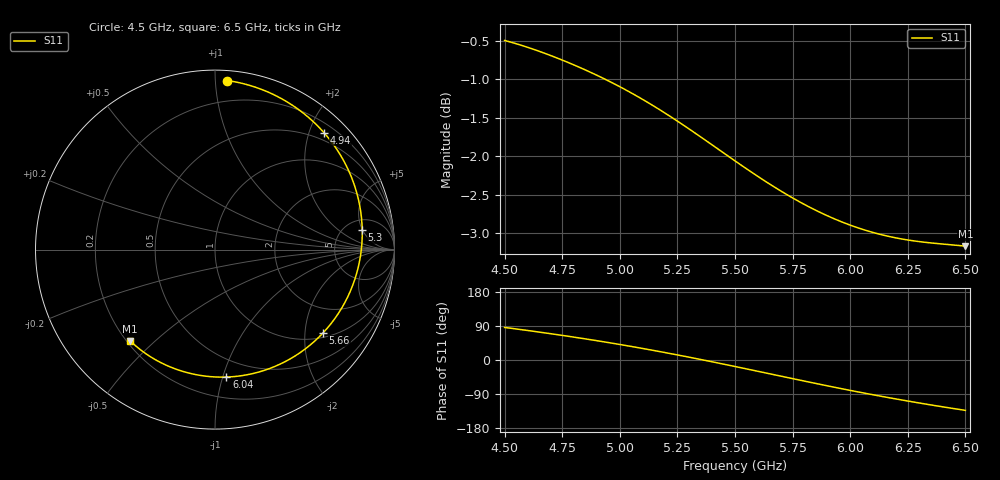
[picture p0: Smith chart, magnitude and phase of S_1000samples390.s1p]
! TOUCHSTONE file generated by CST MICROWAVE STUDIO
! Date and time: Fri Oct 28 00:16:52 2022
! Project name: L.cst
! Parameters = {Di=1.27; Epsilon_r=1.56; InnerDiameter=1.27; Length=2; Lf=10; Lg=60; OuterConductorThickness=0.2921; OuterDiameter=3.6; Wf=3; Wp=41.2; de=1.5; df=6.8; g=0.8; gx=2.79254; gy=2.5684; h=2.34; hf=1.524; px=10.5009; py=8.36594; w=9.7; wx=7.70831; wy=5.79754}
! Header version: 2018
! Port assignment regex: !\s*Touchstone port\s*([0-9]+)\s*=\s*(CST MWS port|CST DS port)\s*([0-9]+|Zmin|Zmax)\s*\(\"(.*)\"\)(\s*mode\s*([0-9]+))?.*
! Touchstone port assignment:
! Touchstone port 1 = CST MWS port 1 ("")
# GHz S DB R 50
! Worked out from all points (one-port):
!   101 points, 4.5 GHz to 6.5 GHz, reference 50 ohm
!   lowest |S11| = -3.2 dB at 6.5 GHz (marker M1), VSWR 5.54, Z = 10.7 - j21 ohm
!   |S11| at or under -10 dB: nowhere
!   S11 on the Smith chart (normalised r, x): 4.5 GHz: 0.06, +1.07; 4.94 GHz: 0.36, +2.25; 5.3 GHz: 7.18, +4.91; 5.66 GHz: 1.13, -2.48; 6.04 GHz: 0.36, -1.03; 6.5 GHz: 0.21, -0.42
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4.5  -0.50 85.9
4.58  -0.57 79.5
4.64  -0.63 74.5
4.76  -0.76 64.1
4.86  -0.89 54.8
4.94  -1.01 47.0
5  -1.10 40.9
5.08  -1.23 32.5
5.14  -1.34 25.9
5.2  -1.45 19.2
5.26  -1.57 12.2
5.3  -1.65 7.5
5.36  -1.77 0.3
5.4  -1.85 -4.7
5.44  -1.94 -9.6
5.5  -2.06 -17.2
5.58  -2.23 -27.3
5.66  -2.38 -37.6
5.76  -2.56 -50.4
5.82  -2.66 -58.0
5.88  -2.75 -65.5
5.94  -2.83 -72.9
6  -2.90 -80.2
6.04  -2.94 -84.9
6.14  -3.03 -96.3
6.26  -3.10 -109.3
6.38  -3.14 -121.5
6.5  -3.17 -132.9
